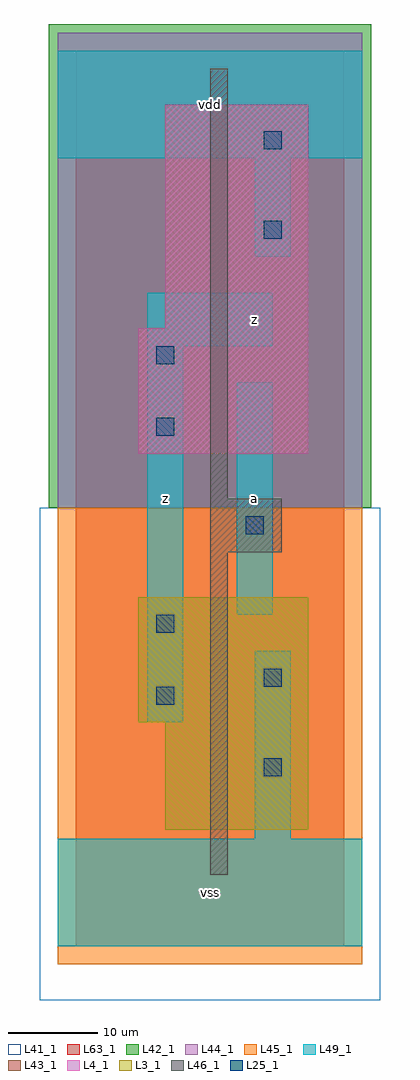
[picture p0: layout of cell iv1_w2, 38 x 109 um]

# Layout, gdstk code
import gdstk
lib = gdstk.Library(unit=1e-6, precision=1e-09)
def R(c, l, rs):  # rectangles x0, y0, x1, y1
    for r in rs: c.add(gdstk.rectangle(r[:2], r[2:], *l))
L3_1 = (3, 1)
L4_1 = (4, 1)
L25_1 = (25, 1)
L41_1 = (41, 1)
L42_1 = (42, 1)
L43_1 = (43, 1)
L44_1 = (44, 1)
L45_1 = (45, 1)
L46_1 = (46, 1)
L49_1 = (49, 1)
L63_1 = (63, 1)

iv1_w2 = lib.new_cell('iv1_w2')
R(iv1_w2, L3_1, [(10,13,26,25), (7,25,26,39)])
R(iv1_w2, L4_1, [(7,55,26,69), (10,69,26,94)])
R(iv1_w2, L25_1, [(21,19,23,21), (9,27,11,29), (21,29,23,31), (9,35,11,37), (19,46,21,48), (9,57,11,59), (9,65,11,67), (21,79,23,81), (21,89,23,91)])
R(iv1_w2, L41_1, [(-4,-6,34,49), (-3,-3,33,49)])
R(iv1_w2, L42_1, [(-3,49,33,103)])
R(iv1_w2, L43_1, [(10,13,26,25), (7,25,26,39), (7,55,26,69), (10,69,26,94)])
R(iv1_w2, L44_1, [(-2,49,32,102)])
R(iv1_w2, L45_1, [(-2,-2,32,49)])
R(iv1_w2, L46_1, [(15,8,17,44), (15,44,23,50), (15,50,17,98)])
R(iv1_w2, L49_1, [(-2,0,32,12), (20,12,24,33), (8,25,12,67), (18,37,22,63), (8,67,22,73), (20,77,24,88), (-2,88,32,100)])
R(iv1_w2, L63_1, [(0,0,30,100)])
iv1_w2.add(gdstk.Label('z', (10,50), layer=49, texttype=1))
iv1_w2.add(gdstk.Label('z', (10,50), layer=49, texttype=1))
iv1_w2.add(gdstk.Label('vss', (15,6), layer=49, texttype=1))
iv1_w2.add(gdstk.Label('vss', (15,6), layer=49, texttype=1))
iv1_w2.add(gdstk.Label('a', (20,50), layer=49, texttype=1))
iv1_w2.add(gdstk.Label('a', (20,50), layer=49, texttype=1))
iv1_w2.add(gdstk.Label('z', (20,70), layer=49, texttype=1))
iv1_w2.add(gdstk.Label('z', (20,70), layer=49, texttype=1))
iv1_w2.add(gdstk.Label('vdd', (15,94), layer=49, texttype=1))
iv1_w2.add(gdstk.Label('vdd', (15,94), layer=49, texttype=1))

lib.write_gds('iv1_w2.gds')
